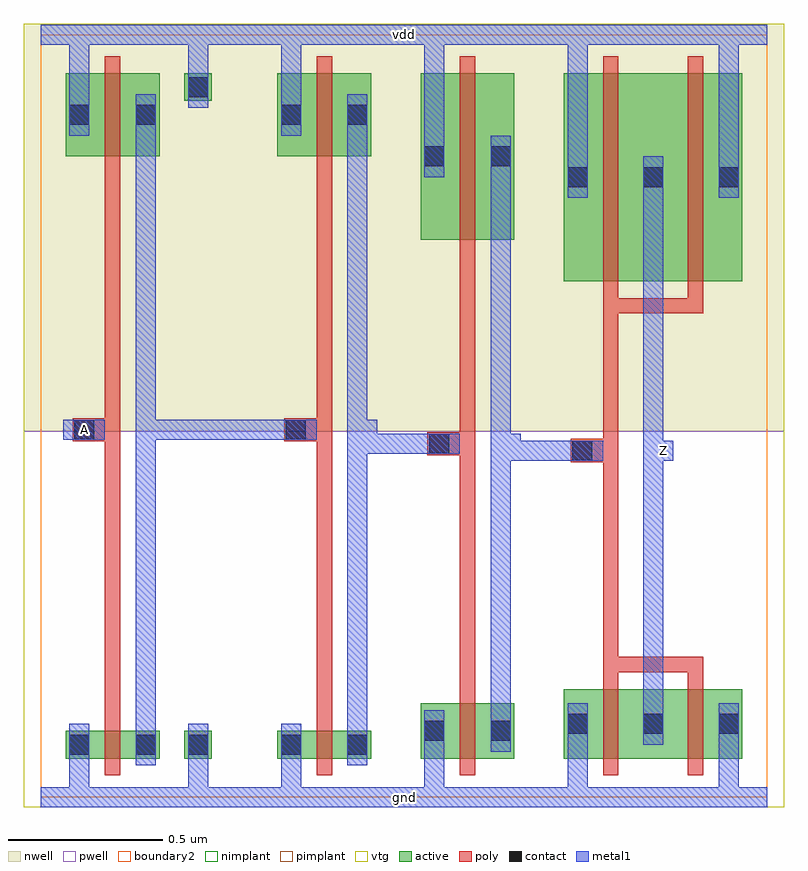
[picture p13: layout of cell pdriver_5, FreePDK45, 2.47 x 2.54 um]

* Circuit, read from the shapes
.subckt pdriver_5 A Z gnd vdd
M1 pinv_10_1/A A gnd gnd nfet w=0.09u l=0.05u
M2 pinv_15_2/A pinv_10_1/A gnd gnd nfet w=0.09u l=0.05u
M3 pinv_16_3/A pinv_15_2/A gnd gnd nfet w=0.18u l=0.05u
M4 Z pinv_16_3/A gnd gnd nfet w=0.225u l=0.05u m=2
M5 pinv_10_1/A A vdd vdd pfet w=0.27u l=0.05u
M6 pinv_15_2/A pinv_10_1/A vdd vdd pfet w=0.27u l=0.05u
M7 pinv_16_3/A pinv_15_2/A vdd vdd pfet w=0.54u l=0.05u
M8 Z pinv_16_3/A vdd vdd pfet w=0.675u l=0.05u m=2
.ends

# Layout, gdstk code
import gdstk
lib = gdstk.Library(unit=1e-6, precision=5e-10)
def R(c, l, rs):  # rectangles x0, y0, x1, y1
    for r in rs: c.add(gdstk.rectangle(r[:2], r[2:], *l))
def A(c, l, x, y, w, h, nx, ny, dx, dy):  # array of equal rectangles
    R(c, l, [(x+i*dx, y+j*dy, x+i*dx+w, y+j*dy+h) for i in range(nx) for j in range(ny)])
active = (1, 0)
pwell = (2, 0)
nwell = (3, 0)
nimplant = (4, 0)
pimplant = (5, 0)
vtg = (6, 0)
poly = (9, 0)
contact = (10, 0)
metal1 = (11, 0)
boundary2 = (239, 0)

contact_9 = lib.new_cell('contact_9')
R(contact_9, active, [(0,0.0225,0.09,0.1125)])
R(contact_9, nwell, [(-0.055,-0.0325,0.145,0.1675)])
R(contact_9, pimplant, [(0,0.0225,0.09,0.1125)])
R(contact_9, contact, [(0.0125,0.035,0.0775,0.1)])
R(contact_9, metal1, [(0.0125,0,0.0775,0.135)])
R(contact_9, boundary2, [(-0.055,-0.0325,0.145,0.1675)])

pmos_m1_w0_270_sm1_dm1_d = lib.new_cell('pmos_m1_w0_270_sm1_dm1_da_p')
R(pmos_m1_w0_270_sm1_dm1_d, active, [(0,0,0.305,0.27)])
R(pmos_m1_w0_270_sm1_dm1_d, nwell, [(-0.08,-0.08,0.385,0.35)])
R(pmos_m1_w0_270_sm1_dm1_d, pimplant, [(0,0,0.305,0.27)])
R(pmos_m1_w0_270_sm1_dm1_d, vtg, [(-0.08,-0.08,0.385,0.35)])
R(pmos_m1_w0_270_sm1_dm1_d, poly, [(0.1275,-0.055,0.1775,0.325), (0.1275,-0.055,0.1775,0.325)])
R(pmos_m1_w0_270_sm1_dm1_d, metal1, [(0.0125,0.0675,0.0775,0.2025), (0.2275,0.0675,0.2925,0.2025)])
R(pmos_m1_w0_270_sm1_dm1_d, boundary2, [(-0.08,-0.08,0.385,0.35)])
pmos_m1_w0_270_sm1_dm1_d.add(gdstk.Reference(contact_9, (0,0.0675)))
pmos_m1_w0_270_sm1_dm1_d.add(gdstk.Reference(contact_9, (0.215,0.0675)))
pmos_m1_w0_270_sm1_dm1_d.add(gdstk.Label('G', (0.1525,0.135), layer=9, texttype=0))
pmos_m1_w0_270_sm1_dm1_d.add(gdstk.Label('S', (0.045,0.135), layer=11, texttype=0))
pmos_m1_w0_270_sm1_dm1_d.add(gdstk.Label('D', (0.26,0.135), layer=11, texttype=0))

contact_14 = lib.new_cell('contact_14')
R(contact_14, active, [(0,0.0225,0.09,0.1125)])
R(contact_14, pwell, [(-0.055,-0.0325,0.145,0.1675)])
R(contact_14, nimplant, [(0,0.0225,0.09,0.1125)])
R(contact_14, contact, [(0.0125,0.035,0.0775,0.1)])
R(contact_14, metal1, [(0.0125,0,0.0775,0.135)])
R(contact_14, boundary2, [(-0.055,-0.0325,0.145,0.1675)])

nmos_m1_w0_090_sm1_dm1_d = lib.new_cell('nmos_m1_w0_090_sm1_dm1_da_p')
R(nmos_m1_w0_090_sm1_dm1_d, active, [(0,0,0.305,0.09)])
R(nmos_m1_w0_090_sm1_dm1_d, pwell, [(-0.08,-0.08,0.385,0.17)])
R(nmos_m1_w0_090_sm1_dm1_d, nimplant, [(0,0,0.305,0.09)])
R(nmos_m1_w0_090_sm1_dm1_d, vtg, [(-0.08,-0.08,0.385,0.17)])
R(nmos_m1_w0_090_sm1_dm1_d, poly, [(0.1275,-0.055,0.1775,0.145), (0.1275,-0.055,0.1775,0.145)])
R(nmos_m1_w0_090_sm1_dm1_d, metal1, [(0.0125,-0.0225,0.0775,0.1125), (0.2275,-0.0225,0.2925,0.1125)])
R(nmos_m1_w0_090_sm1_dm1_d, boundary2, [(-0.08,-0.08,0.385,0.17)])
nmos_m1_w0_090_sm1_dm1_d.add(gdstk.Reference(contact_14, (0,-0.0225)))
nmos_m1_w0_090_sm1_dm1_d.add(gdstk.Reference(contact_14, (0.215,-0.0225)))
nmos_m1_w0_090_sm1_dm1_d.add(gdstk.Label('G', (0.1525,0.045), layer=9, texttype=0))
nmos_m1_w0_090_sm1_dm1_d.add(gdstk.Label('S', (0.045,0.045), layer=11, texttype=0))
nmos_m1_w0_090_sm1_dm1_d.add(gdstk.Label('D', (0.26,0.045), layer=11, texttype=0))

contact_18 = lib.new_cell('contact_18')
R(contact_18, active, [(0,0.0225,0.09,0.1125)])
R(contact_18, nwell, [(-0.055,-0.0325,0.145,0.1675)])
R(contact_18, nimplant, [(0,0.0225,0.09,0.1125)])
R(contact_18, contact, [(0.0125,0.035,0.0775,0.1)])
R(contact_18, metal1, [(0.0125,0,0.0775,0.135)])
R(contact_18, boundary2, [(-0.055,-0.0325,0.145,0.1675)])

contact_19 = lib.new_cell('contact_19')
R(contact_19, active, [(0,0.0225,0.09,0.1125)])
R(contact_19, pwell, [(-0.055,-0.0325,0.145,0.1675)])
R(contact_19, pimplant, [(0,0.0225,0.09,0.1125)])
R(contact_19, contact, [(0.0125,0.035,0.0775,0.1)])
R(contact_19, metal1, [(0.0125,0,0.0775,0.135)])
R(contact_19, boundary2, [(-0.055,-0.0325,0.145,0.1675)])

contact_10 = lib.new_cell('contact_10')
R(contact_10, poly, [(0.03,0,0.105,0.075)])
R(contact_10, contact, [(0.035,0.005,0.1,0.07)])
R(contact_10, metal1, [(0,0.005,0.135,0.07)])
R(contact_10, boundary2, [(0,0,0.135,0.075)])

pinv_1 = lib.new_cell('pinv_1')
R(pinv_1, pwell, [(-0.055,-0.0325,0.7425,1.1875)])
R(pinv_1, nwell, [(-0.055,1.1875,0.7425,2.51)])
R(pinv_1, vtg, [(-0.055,-0.0325,0.7425,1.1875), (-0.055,1.1875,0.7425,2.51)])
R(pinv_1, poly, [(0.2075,0.27,0.2575,2.025), (0.14,1.155,0.2075,1.23)])
R(pinv_1, metal1, [(0,-0.0325,0.6875,0.0325), (0.0925,-0.0325,0.1575,0.1025), (0.4775,0,0.5425,0.17), (0.3075,0.1025,0.3725,2.2825), (0.0725,1.16,0.2075,1.225), (0.34,1.16,0.405,1.225), (0.0925,2.1475,0.1575,2.5075), (0.4775,2.305,0.5425,2.475), (0,2.4425,0.6875,2.5075)])
R(pinv_1, boundary2, [(0,0,0.6875,2.475), (0,0,0.6875,2.475)])
pinv_1.add(gdstk.Reference(pmos_m1_w0_270_sm1_dm1_d, (0.08,2.08)))
pinv_1.add(gdstk.Reference(nmos_m1_w0_090_sm1_dm1_d, (0.08,0.125)))
pinv_1.add(gdstk.Reference(contact_18, (0.465,2.2375)))
pinv_1.add(gdstk.Reference(contact_19, (0.465,0.1025)))
pinv_1.add(gdstk.Reference(contact_10, (0.0725,1.155)))
pinv_1.add(gdstk.Label('A', (0.14,1.1925), layer=11, texttype=0))
pinv_1.add(gdstk.Label('Z', (0.3725,1.1925), layer=11, texttype=0))
pinv_1.add(gdstk.Label('gnd', (0.344,0), layer=11, texttype=0))
pinv_1.add(gdstk.Label('vdd', (0.344,2.475), layer=11, texttype=0))

pinv_10 = lib.new_cell('pinv_10')
R(pinv_10, pwell, [(-0.055,-0.0325,0.52,1.1875)])
R(pinv_10, nwell, [(-0.055,1.1875,0.52,2.51)])
R(pinv_10, vtg, [(-0.055,-0.0325,0.52,1.1875), (-0.055,1.1875,0.52,2.51)])
R(pinv_10, poly, [(0.2075,0.27,0.2575,2.025), (0.14,1.155,0.2075,1.23)])
R(pinv_10, metal1, [(0,-0.0325,0.465,0.0325), (0.0925,-0.0325,0.1575,0.1025), (0.3075,0.1025,0.3725,2.2825), (0.0725,1.16,0.2075,1.225), (0.34,1.16,0.405,1.225), (0.0925,2.1475,0.1575,2.5075), (0,2.4425,0.465,2.5075)])
R(pinv_10, boundary2, [(0,0,0.465,2.475), (0,0,0.465,2.475)])
pinv_10.add(gdstk.Reference(pmos_m1_w0_270_sm1_dm1_d, (0.08,2.08)))
pinv_10.add(gdstk.Reference(nmos_m1_w0_090_sm1_dm1_d, (0.08,0.125)))
pinv_10.add(gdstk.Reference(contact_10, (0.0725,1.155)))
pinv_10.add(gdstk.Label('A', (0.14,1.1925), layer=11, texttype=0))
pinv_10.add(gdstk.Label('Z', (0.3725,1.1925), layer=11, texttype=0))
pinv_10.add(gdstk.Label('gnd', (0.2325,0), layer=11, texttype=0))
pinv_10.add(gdstk.Label('vdd', (0.2325,2.475), layer=11, texttype=0))

pmos_m1_w0_540_sm1_dm1_d = lib.new_cell('pmos_m1_w0_540_sm1_dm1_da_p')
R(pmos_m1_w0_540_sm1_dm1_d, active, [(0,0,0.305,0.54)])
R(pmos_m1_w0_540_sm1_dm1_d, nwell, [(-0.08,-0.08,0.385,0.62)])
R(pmos_m1_w0_540_sm1_dm1_d, pimplant, [(0,0,0.305,0.54)])
R(pmos_m1_w0_540_sm1_dm1_d, vtg, [(-0.08,-0.08,0.385,0.62)])
R(pmos_m1_w0_540_sm1_dm1_d, poly, [(0.1275,-0.055,0.1775,0.595), (0.1275,-0.055,0.1775,0.595)])
R(pmos_m1_w0_540_sm1_dm1_d, metal1, [(0.0125,0.2025,0.0775,0.3375), (0.2275,0.2025,0.2925,0.3375)])
R(pmos_m1_w0_540_sm1_dm1_d, boundary2, [(-0.08,-0.08,0.385,0.62)])
pmos_m1_w0_540_sm1_dm1_d.add(gdstk.Reference(contact_9, (0,0.2025)))
pmos_m1_w0_540_sm1_dm1_d.add(gdstk.Reference(contact_9, (0.215,0.2025)))
pmos_m1_w0_540_sm1_dm1_d.add(gdstk.Label('G', (0.1525,0.27), layer=9, texttype=0))
pmos_m1_w0_540_sm1_dm1_d.add(gdstk.Label('S', (0.045,0.27), layer=11, texttype=0))
pmos_m1_w0_540_sm1_dm1_d.add(gdstk.Label('D', (0.26,0.27), layer=11, texttype=0))

nmos_m1_w0_180_sm1_dm1_d = lib.new_cell('nmos_m1_w0_180_sm1_dm1_da_p')
R(nmos_m1_w0_180_sm1_dm1_d, active, [(0,0,0.305,0.18)])
R(nmos_m1_w0_180_sm1_dm1_d, pwell, [(-0.08,-0.08,0.385,0.26)])
R(nmos_m1_w0_180_sm1_dm1_d, nimplant, [(0,0,0.305,0.18)])
R(nmos_m1_w0_180_sm1_dm1_d, vtg, [(-0.08,-0.08,0.385,0.26)])
R(nmos_m1_w0_180_sm1_dm1_d, poly, [(0.1275,-0.055,0.1775,0.235), (0.1275,-0.055,0.1775,0.235)])
R(nmos_m1_w0_180_sm1_dm1_d, metal1, [(0.0125,0.0225,0.0775,0.1575), (0.2275,0.0225,0.2925,0.1575)])
R(nmos_m1_w0_180_sm1_dm1_d, boundary2, [(-0.08,-0.08,0.385,0.26)])
nmos_m1_w0_180_sm1_dm1_d.add(gdstk.Reference(contact_14, (0,0.0225)))
nmos_m1_w0_180_sm1_dm1_d.add(gdstk.Reference(contact_14, (0.215,0.0225)))
nmos_m1_w0_180_sm1_dm1_d.add(gdstk.Label('G', (0.1525,0.09), layer=9, texttype=0))
nmos_m1_w0_180_sm1_dm1_d.add(gdstk.Label('S', (0.045,0.09), layer=11, texttype=0))
nmos_m1_w0_180_sm1_dm1_d.add(gdstk.Label('D', (0.26,0.09), layer=11, texttype=0))

pinv_15 = lib.new_cell('pinv_15')
R(pinv_15, pwell, [(-0.055,-0.0325,0.52,1.1875)])
R(pinv_15, nwell, [(-0.055,1.1875,0.52,2.51)])
R(pinv_15, vtg, [(-0.055,-0.0325,0.52,1.1875), (-0.055,1.1875,0.52,2.51)])
R(pinv_15, poly, [(0.2075,0.36,0.2575,1.755), (0.14,1.11,0.2075,1.185)])
R(pinv_15, metal1, [(0,-0.0325,0.465,0.0325), (0.0925,-0.0325,0.1575,0.1475), (0.3075,0.1475,0.3725,2.1475), (0.0725,1.115,0.2075,1.18), (0.34,1.115,0.405,1.18), (0.0925,2.0125,0.1575,2.5075), (0,2.4425,0.465,2.5075)])
R(pinv_15, boundary2, [(0,0,0.465,2.475), (0,0,0.465,2.475)])
pinv_15.add(gdstk.Reference(pmos_m1_w0_540_sm1_dm1_d, (0.08,1.81)))
pinv_15.add(gdstk.Reference(nmos_m1_w0_180_sm1_dm1_d, (0.08,0.125)))
pinv_15.add(gdstk.Reference(contact_10, (0.0725,1.11)))
pinv_15.add(gdstk.Label('A', (0.14,1.1475), layer=11, texttype=0))
pinv_15.add(gdstk.Label('Z', (0.3725,1.1475), layer=11, texttype=0))
pinv_15.add(gdstk.Label('gnd', (0.2325,0), layer=11, texttype=0))
pinv_15.add(gdstk.Label('vdd', (0.2325,2.475), layer=11, texttype=0))

pmos_m2_w0_675_sm1_dm1_d = lib.new_cell('pmos_m2_w0_675_sm1_dm1_da_p')
R(pmos_m2_w0_675_sm1_dm1_d, active, [(0,0,0.58,0.675)])
R(pmos_m2_w0_675_sm1_dm1_d, nwell, [(-0.08,-0.08,0.66,0.755)])
R(pmos_m2_w0_675_sm1_dm1_d, pimplant, [(0,0,0.58,0.675)])
R(pmos_m2_w0_675_sm1_dm1_d, vtg, [(-0.08,-0.08,0.66,0.755)])
R(pmos_m2_w0_675_sm1_dm1_d, poly, [(0.1275,-0.105,0.4525,-0.055), (0.1275,-0.055,0.1775,0.73), (0.4025,-0.055,0.4525,0.73)])
A(pmos_m2_w0_675_sm1_dm1_d, metal1, 0.0125, 0.27, 0.065, 0.135, 3, 1, 0.245, 0)
R(pmos_m2_w0_675_sm1_dm1_d, boundary2, [(-0.08,-0.08,0.66,0.755)])
pmos_m2_w0_675_sm1_dm1_d.add(gdstk.Reference(contact_9, (0,0.27)))
pmos_m2_w0_675_sm1_dm1_d.add(gdstk.Reference(contact_9, (0.245,0.27)))
pmos_m2_w0_675_sm1_dm1_d.add(gdstk.Reference(contact_9, (0.49,0.27)))
pmos_m2_w0_675_sm1_dm1_d.add(gdstk.Label('G', (0.29,-0.08), layer=9, texttype=0))
pmos_m2_w0_675_sm1_dm1_d.add(gdstk.Label('S', (0.535,0.3375), layer=11, texttype=0))
pmos_m2_w0_675_sm1_dm1_d.add(gdstk.Label('S', (0.045,0.3375), layer=11, texttype=0))
pmos_m2_w0_675_sm1_dm1_d.add(gdstk.Label('D', (0.29,0.3375), layer=11, texttype=0))

nmos_m2_w0_225_sm1_dm1_d = lib.new_cell('nmos_m2_w0_225_sm1_dm1_da_p')
R(nmos_m2_w0_225_sm1_dm1_d, active, [(0,0,0.58,0.225)])
R(nmos_m2_w0_225_sm1_dm1_d, pwell, [(-0.08,-0.08,0.66,0.305)])
R(nmos_m2_w0_225_sm1_dm1_d, nimplant, [(0,0,0.58,0.225)])
R(nmos_m2_w0_225_sm1_dm1_d, vtg, [(-0.08,-0.08,0.66,0.305)])
R(nmos_m2_w0_225_sm1_dm1_d, poly, [(0.1275,-0.055,0.1775,0.28), (0.4025,-0.055,0.4525,0.28), (0.1275,0.28,0.4525,0.33)])
A(nmos_m2_w0_225_sm1_dm1_d, metal1, 0.0125, 0.045, 0.065, 0.135, 3, 1, 0.245, 0)
R(nmos_m2_w0_225_sm1_dm1_d, boundary2, [(-0.08,-0.08,0.66,0.305)])
nmos_m2_w0_225_sm1_dm1_d.add(gdstk.Reference(contact_14, (0,0.045)))
nmos_m2_w0_225_sm1_dm1_d.add(gdstk.Reference(contact_14, (0.245,0.045)))
nmos_m2_w0_225_sm1_dm1_d.add(gdstk.Reference(contact_14, (0.49,0.045)))
nmos_m2_w0_225_sm1_dm1_d.add(gdstk.Label('G', (0.29,0.305), layer=9, texttype=0))
nmos_m2_w0_225_sm1_dm1_d.add(gdstk.Label('S', (0.535,0.1125), layer=11, texttype=0))
nmos_m2_w0_225_sm1_dm1_d.add(gdstk.Label('S', (0.045,0.1125), layer=11, texttype=0))
nmos_m2_w0_225_sm1_dm1_d.add(gdstk.Label('D', (0.29,0.1125), layer=11, texttype=0))

pinv_16 = lib.new_cell('pinv_16')
R(pinv_16, pwell, [(-0.055,-0.0325,0.795,1.1875)])
R(pinv_16, nwell, [(-0.055,1.1875,0.795,2.51)])
R(pinv_16, vtg, [(-0.055,-0.0325,0.795,1.1875), (-0.055,1.1875,0.795,2.51)])
R(pinv_16, poly, [(0.2075,0.455,0.2575,1.57), (0.14,1.0875,0.2075,1.1625)])
R(pinv_16, metal1, [(0,-0.0325,0.74,0.0325), (0.0925,-0.0325,0.1575,0.17), (0.5825,-0.0325,0.6475,0.17), (0.3375,0.17,0.4025,2.08), (0.0725,1.0925,0.2075,1.1575), (0.37,1.0925,0.435,1.1575), (0.0925,1.945,0.1575,2.5075), (0.5825,1.945,0.6475,2.5075), (0,2.4425,0.74,2.5075)])
R(pinv_16, boundary2, [(0,0,0.74,2.475), (0,0,0.74,2.475)])
pinv_16.add(gdstk.Reference(pmos_m2_w0_675_sm1_dm1_d, (0.08,1.675)))
pinv_16.add(gdstk.Reference(nmos_m2_w0_225_sm1_dm1_d, (0.08,0.125)))
pinv_16.add(gdstk.Reference(contact_10, (0.0725,1.0875)))
pinv_16.add(gdstk.Label('A', (0.14,1.125), layer=11, texttype=0))
pinv_16.add(gdstk.Label('Z', (0.4025,1.125), layer=11, texttype=0))
pinv_16.add(gdstk.Label('gnd', (0.37,0), layer=11, texttype=0))
pinv_16.add(gdstk.Label('vdd', (0.37,2.475), layer=11, texttype=0))

pdriver_5 = lib.new_cell('pdriver_5')
R(pdriver_5, pwell, [(-0.055,-0.0325,2.4125,1.1875)])
R(pdriver_5, nwell, [(-0.055,1.1875,2.4125,2.51)])
R(pdriver_5, vtg, [(-0.055,-0.0325,2.4125,1.1875), (-0.055,1.1875,2.4125,2.51)])
R(pdriver_5, metal1, [(0,-0.0325,2.3575,0.0325), (1.4925,1.0925,1.5575,1.1575), (1.525,1.0925,1.7575,1.1575), (1.9875,1.0925,2.0525,1.1575), (1.0275,1.115,1.0925,1.18), (1.06,1.115,1.2925,1.18), (1.4925,1.125,1.5575,1.1475), (1.0275,1.1475,1.0925,1.1925), (0.0725,1.16,0.2075,1.225), (0.3725,1.16,0.8275,1.225), (0,2.4425,2.3575,2.5075)])
R(pdriver_5, boundary2, [(0,0,2.3575,2.475), (0,0,2.3575,2.475)])
pdriver_5.add(gdstk.Reference(pinv_1, (0,0)))
pdriver_5.add(gdstk.Reference(pinv_10, (0.6875,0)))
pdriver_5.add(gdstk.Reference(pinv_15, (1.1525,0)))
pdriver_5.add(gdstk.Reference(pinv_16, (1.6175,0)))
pdriver_5.add(gdstk.Label('Z', (2.02,1.125), layer=11, texttype=0))
pdriver_5.add(gdstk.Label('A', (0.14,1.1925), layer=11, texttype=0))
pdriver_5.add(gdstk.Label('gnd', (1.179,0), layer=11, texttype=0))
pdriver_5.add(gdstk.Label('vdd', (1.179,2.475), layer=11, texttype=0))

lib.write_gds('pdriver_5.gds')
